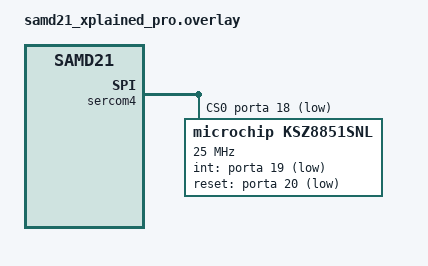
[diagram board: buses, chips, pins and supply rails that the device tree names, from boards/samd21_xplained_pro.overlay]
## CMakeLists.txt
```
#-------------------------------------------------------------------------------
# Zephyr Example Application
#
# Copyright (c) 2021 Nordic Semiconductor ASA
# SPDX-License-Identifier: Apache-2.0

cmake_minimum_required(VERSION 3.13.1)
find_package(Zephyr REQUIRED HINTS $ENV{ZEPHYR_BASE})

project(app LANGUAGES C)

target_sources(app PRIVATE src/main.c)

# The code below locates the git index file for this repository and adds it as a dependency for
# the application VERSION file so that if the repo has a new commit added, even if no files in
# the build have changed, the application version file will be regenerated with the new git commit
find_package(Git QUIET)
if(GIT_FOUND)
  execute_process(
    COMMAND ${GIT_EXECUTABLE} rev-parse --absolute-git-dir
    WORKING_DIRECTORY .
    OUTPUT_VARIABLE application_git_dir
    OUTPUT_STRIP_TRAILING_WHITESPACE
    ERROR_STRIP_TRAILING_WHITESPACE
    ERROR_VARIABLE stderr
    RESULT_VARIABLE return_code
  )
  # If there is an error e.g. it is not a git repo, we just silently ignore it and continue
  # without a dependency, this will be the case with freestanding applications.
  if(NOT return_code)
    if(NOT "${stderr}" STREQUAL "")
      message(WARNING "Application build version git rev-parse warned: ${stderr}")
    endif()

    set_property(TARGET app_version_h PROPERTY APP_VERSION_DEPENDS ${application_git_dir}/index)
  endif()
endif()
```

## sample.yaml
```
# This file is provided so that the application can be compiled using Twister,
# the Zephyr testing tool. In this file, multiple combinations can be specified,
# so that you can easily test all of them locally or in CI.
sample:
  description: Example application
  name: example-application
common:
  build_only: true
  integration_platforms:
    - esp32
build:
  kconfig: Kconfig
  cmake: .
  board: esp32
  harness: net
  settings:
    board_root: boards/
    dts_root: .
  tags:
    - net
    - wifi
tests:
  sample.net.wifi.esp32:
    extra_args:
      - CONFIG_BUILD_ONLY_NO_BLOBS=y
  app.default: {}
  app.debug:
    extra_overlay_confs:
      - debug.conf
```

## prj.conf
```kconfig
# Copyright (c) 2021 Nordic Semiconductor ASA
# SPDX-License-Identifier: Apache-2.0
#
# This file contains selected Kconfig options for the application.

CONFIG_SENSOR=y
CONFIG_BLINK=y

# Networking configuration
CONFIG_NETWORKING=y
CONFIG_NET_L2_ETHERNET=y

# Ethernet driver
CONFIG_ETH_DRIVER=y
CONFIG_ETH_KSZ8851SNL=y

# SPI support
CONFIG_SPI=y

# GPIO support (usually enabled by default)
CONFIG_GPIO=y

# Network protocols
CONFIG_NET_IPV4=y
CONFIG_NET_IPV6=y

# DHCP client
CONFIG_NET_DHCPV4=y

# DNS resolver
CONFIG_NET_DNS_RESOLVER=y

# Network buffers
CONFIG_NET_BUF=y
CONFIG_NET_PKT_RX_COUNT=10
CONFIG_NET_PKT_TX_COUNT=10
CONFIG_NET_BUF_RX_COUNT=20
CONFIG_NET_BUF_TX_COUNT=20

# Network shell (optional - useful for debugging)
CONFIG_NET_SHELL=y
CONFIG_SHELL=y

# Logging configuration
CONFIG_LOG=y
CONFIG_ETHERNET_LOG_LEVEL_DBG=y
CONFIG_NET_LOG=y
```

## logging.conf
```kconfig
# Copyright (c) 2021 Nordic Semiconductor ASA
# SPDX-License-Identifier: Apache-2.0
#
# This is a Kconfig fragment which can be used to enable the logging backend
# in the application. See the README for more details.

# logging
CONFIG_LOG=y
CONFIG_APP_LOG_LEVEL_DBG=y
```

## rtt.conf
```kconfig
# Copyright (c) 2021 Nordic Semiconductor ASA
# SPDX-License-Identifier: Apache-2.0
#
# This is a Kconfig fragment which can be used to enable Segger RTT options.
# It should be used in conjunction with debug.conf.

# segger RTT console
CONFIG_USE_SEGGER_RTT=y
CONFIG_RTT_CONSOLE=y
```

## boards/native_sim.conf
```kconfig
# Copyright (c) 2021 Nordic Semiconductor ASA
# SPDX-License-Identifier: Apache-2.0
#
# This is a Kconfig fragment which can be used to enable debug-related options
# in the application. See the README for more details.
```

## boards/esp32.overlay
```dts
/*
 * Copyright (c) 2023 Espressif Systems (Shanghai) Co., Ltd.
 *
 * SPDX-License-Identifier: Apache-2.0
 */

#include <zephyr/dt-bindings/input/input-event-codes.h>
#include <zephyr/dt-bindings/input/esp32-touch-sensor-input.h>

/* Wifi Settings */
&wifi {
    status = "okay";
};

&touch {
    status = "okay";

    touch_sensor_set: touch_sensor_0 {
        channel-num = <9>;
        channel-sens = <20>;
        zephyr,code = <INPUT_KEY_0>;
    };

    touch_sensor_play: touch_sensor_1 {
        channel-num = <8>;
        channel-sens = <20>;
        zephyr,code = <INPUT_KEY_1>;
    };

    touch_sensor_vol_inc: touch_sensor_2 {
        channel-num = <6>;
        channel-sens = <20>;
        zephyr,code = <INPUT_KEY_2>;
    };

    touch_sensor_vol_dec: touch_sensor_3 {
        channel-num = <4>;
        channel-sens = <20>;
        zephyr,code = <INPUT_KEY_3>;
    };
};

/{
    chosen{
        zephyr,console = &uart0;
    };
};
```

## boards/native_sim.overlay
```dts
/*
 * Copyright (c) 2021 Nordic Semiconductor ASA
 * SPDX-License-Identifier: Apache-2.0
 */

/* This devicetree overlay file will be automatically picked by the Zephyr
 * build system when building the sample for the nucleo_f302r8 board. It shows
 * how the example-application can be built on sample boards already provided
 * by Zephyr.
 */

/ {
	example_sensor: example-sensor {
		compatible = "zephyr,example-sensor";
	};
};
```

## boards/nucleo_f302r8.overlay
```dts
/*
 * Copyright (c) 2021 Nordic Semiconductor ASA
 * SPDX-License-Identifier: Apache-2.0
 */

/* This devicetree overlay file will be automatically picked by the Zephyr
 * build system when building the sample for the nucleo_f302r8 board. It shows
 * how the example-application can be built on sample boards already provided
 * by Zephyr.
 */

/ {
	example_sensor: example-sensor {
		compatible = "zephyr,example-sensor";
		input-gpios = <&gpioc 13 (GPIO_PULL_UP | GPIO_ACTIVE_LOW)>;
	};

	blink_led: blink-led {
		compatible = "blink-gpio-led";
		led-gpios = <&gpiob 13 GPIO_ACTIVE_HIGH>;
		blink-period-ms = <1000>;
	};
};

&gpioc {
	status = "okay";
};
```

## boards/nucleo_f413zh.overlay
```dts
/*
 * Copyright (c) 2021 Nordic Semiconductor ASA
 * SPDX-License-Identifier: Apache-2.0
 */

/* This devicetree overlay file will be automatically picked by the Zephyr
 * build system when building the sample for the nucleo_f413zh board. It shows
 * how the example-application can be built on sample boards already provided
 * by Zephyr.
 */

/ {
	example_sensor: example-sensor {
		compatible = "zephyr,example-sensor";
		input-gpios = <&gpioc 13 (GPIO_ACTIVE_HIGH)>;
	};

	blink_led: blink-led {
		compatible = "blink-gpio-led";
		led-gpios = <&gpiob 0 GPIO_ACTIVE_HIGH>;
		blink-period-ms = <1000>;
	};
};

&gpioc {
	status = "okay";
};

&gpiob {
  status = "okay";
};
```

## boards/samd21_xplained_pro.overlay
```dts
/*
 * Copyright (c) 2024 Zephyr Project
 * SPDX-License-Identifier: Apache-2.0
 *
 * KSZ8851SNL Ethernet Controller overlay for SAMD21
 *
 * NOTE: Adjust the following based on your hardware connections:
 * - SERCOM number (sercom4 below - change if using different SERCOM)
 * - CS pin (PA18 below)
 * - INT pin (PA19 below)
 * - RESET pin (PA20 below)
 * - SPI pins in pinctrl
 */

&pinctrl {
	sercom4_spi_default: sercom4_spi_default {
		group1 {
			pinmux = <PA12C_SERCOM4_PAD0>,  /* MISO */
			         <PB10D_SERCOM4_PAD2>,  /* MOSI */
			         <PB11D_SERCOM4_PAD3>;  /* SCK */
		};
	};
};

&sercom4 {
	status = "okay";
	compatible = "atmel,sam0-spi";
	dipo = <0>;  /* MISO on PAD0 */
	dopo = <1>;  /* MOSI on PAD2, SCK on PAD3 */
	#address-cells = <1>;
	#size-cells = <0>;

	pinctrl-0 = <&sercom4_spi_default>;
	pinctrl-names = "default";

	cs-gpios = <&porta 18 GPIO_ACTIVE_LOW>;

	ksz8851snl: ksz8851snl@0 {
		compatible = "microchip,ksz8851snl";
		reg = <0>;
		spi-max-frequency = <25000000>;  /* 25 MHz max for KSZ8851SNL */
		int-gpios = <&porta 19 GPIO_ACTIVE_LOW>;
		reset-gpios = <&porta 20 GPIO_ACTIVE_LOW>;

		/* Optional: Set a specific MAC address
		 * If not specified, a random MAC will be generated
		 */
		/* local-mac-address = [00 04 A3 12 34 56]; */
	};
};

/* Ensure GPIO ports are enabled */
&porta {
	status = "okay";
};

&portb {
	status = "okay";
};
```

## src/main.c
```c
/*
 * Copyright (c) 2021 Nordic Semiconductor ASA
 * SPDX-License-Identifier: Apache-2.0
 */

#include <zephyr/kernel.h>
#include <zephyr/drivers/sensor.h>
#include <zephyr/logging/log.h>

#include <app/drivers/blink.h>

#include <zephyr/app_version.h>

LOG_MODULE_REGISTER(main, CONFIG_APP_LOG_LEVEL);

#define BLINK_PERIOD_MS_STEP 100U
#define BLINK_PERIOD_MS_MAX  1000U

int main(void)
{
	int ret;
	unsigned int period_ms = BLINK_PERIOD_MS_MAX;
	const struct device *sensor, *blink;
	struct sensor_value last_val = { 0 }, val;

	printk("Zephyr Example Application %s\n", APP_VERSION_STRING);

	sensor = DEVICE_DT_GET(DT_NODELABEL(example_sensor));
	if (!device_is_ready(sensor)) {
		LOG_ERR("Sensor not ready");
		return 0;
	}

	blink = DEVICE_DT_GET(DT_NODELABEL(blink_led));
	if (!device_is_ready(blink)) {
		LOG_ERR("Blink LED not ready");
		return 0;
	}

	ret = blink_off(blink);
	if (ret < 0) {
		LOG_ERR("Could not turn off LED (%d)", ret);
		return 0;
	}

	printk("Use the sensor to change LED blinking period\n");

	while (1) {
		ret = sensor_sample_fetch(sensor);
		if (ret < 0) {
			LOG_ERR("Could not fetch sample (%d)", ret);
			return 0;
		}

		ret = sensor_channel_get(sensor, SENSOR_CHAN_PROX, &val);
		if (ret < 0) {
			LOG_ERR("Could not get sample (%d)", ret);
			return 0;
		}

		if ((last_val.val1 == 0) && (val.val1 == 1)) {
			if (period_ms == 0U) {
				period_ms = BLINK_PERIOD_MS_MAX;
			} else {
				period_ms -= BLINK_PERIOD_MS_STEP;
			}

			printk("Proximity detected, setting LED period to %u ms\n",
			       period_ms);
			blink_set_period_ms(blink, period_ms);
		}

		last_val = val;

		k_sleep(K_MSEC(100));
	}

	return 0;
}
```

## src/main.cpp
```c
/*
 * Copyright (c) 2025 Osama Salah-ud-Din.
*/

#include <zephyr/kernel.h>
#include <zephyr/logging/log.h>

#include <app_version.h>

LOG_MODULE_REGISTER(main, CONFIG_APP_LOG_LEVEL);

#include <zephyr/net/net_if.h>
#include <zephyr/net/net_ip.h>
#include <zephyr/net/wifi_mgmt.h>
#include <zephyr/net/net_event.h>

#include "myLogger.h"
#include "handlers.h"
#include "wifi.h"
#include "wifiManager.hpp"


wifiManager wifi;

int main(void)
{
    /* Main Function */
    MYLOG("Hello World!");

    /* Prechecks for Connecting with Wifi */
    struct wifi_iface_status status = {0};

    wifi.init();

    wifi.tick();
    int64_t start = k_uptime_get();

    bool isConnectRequested = false;
    wifiStateEnum state;

    while (true)
    {
        wifi.tick();
        state = wifi.getWifiState();

        if (wifiStateEnum::IDLE == state)
        {
            /* If 500ms have passed we can connect using Wifi */
            if ((k_uptime_get() - start > 500) && !isConnectRequested)
            {
                MYLOG("Waiting for Wifi to connect");
                wifi.connect();
                isConnectRequested = true;
            }
        }
        else if (wifiStateEnum::CONNECTING == state)
        {
            /* Wait for Connection to be established */
        }
        else if (wifiStateEnum::CONNECTED == state)
        {
            /* Do WiFI Stuff after this */
            isConnectRequested = false;
        }
        else if (wifiStateEnum::ERROR == state)
        {
            if (k_uptime_get() - start > 10000)
            {
                MYLOG("❌ Error in Wifi Initialization. ReInitializing");
                wifi.connect();
            }
        }
    }

    return 0;
}
```

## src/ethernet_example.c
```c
/*
 * Copyright (c) 2024 Zephyr Project
 * SPDX-License-Identifier: Apache-2.0
 *
 * KSZ8851SNL Ethernet Example Application
 */

#include <zephyr/kernel.h>
#include <zephyr/net/net_if.h>
#include <zephyr/net/net_core.h>
#include <zephyr/net/net_context.h>
#include <zephyr/net/net_mgmt.h>
#include <zephyr/net/ethernet.h>
#include <zephyr/logging/log.h>

LOG_MODULE_REGISTER(eth_example, CONFIG_APP_LOG_LEVEL);

static struct net_mgmt_event_callback mgmt_cb;

static void event_handler(struct net_mgmt_event_callback *cb,
			  uint32_t mgmt_event, struct net_if *iface)
{
	if (mgmt_event == NET_EVENT_IPV4_ADDR_ADD) {
		char addr_str[NET_IPV4_ADDR_LEN];
		const struct in_addr *addr;

		addr = &iface->config.ip.ipv4->unicast[0].address.in_addr;

		if (net_addr_ntop(AF_INET, addr, addr_str, sizeof(addr_str))) {
			LOG_INF("IPv4 address: %s", addr_str);
			LOG_INF("Lease time: %u seconds",
				iface->config.dhcpv4.lease_time);
		}
	} else if (mgmt_event == NET_EVENT_IPV4_DHCP_BOUND) {
		LOG_INF("DHCP bound");
	} else if (mgmt_event == NET_EVENT_IPV4_DHCP_START) {
		LOG_INF("DHCP started");
	}
}

void ethernet_example_init(void)
{
	struct net_if *iface;
	struct ethernet_context *eth_ctx;

	LOG_INF("Initializing Ethernet example");

	/* Get default network interface (Ethernet) */
	iface = net_if_get_default();
	if (!iface) {
		LOG_ERR("No network interface found");
		return;
	}

	/* Check if it's an Ethernet interface */
	if (net_if_l2(iface) != &NET_L2_GET_NAME(ETHERNET)) {
		LOG_ERR("Default interface is not Ethernet");
		return;
	}

	LOG_INF("Network interface: %s", net_if_get_device(iface)->name);

	/* Print MAC address */
	const uint8_t *mac = net_if_get_link_addr(iface)->addr;
	LOG_INF("MAC Address: %02x:%02x:%02x:%02x:%02x:%02x",
		mac[0], mac[1], mac[2], mac[3], mac[4], mac[5]);

	/* Setup network management event callback for IP address changes */
	net_mgmt_init_event_callback(&mgmt_cb, event_handler,
				     NET_EVENT_IPV4_ADDR_ADD |
				     NET_EVENT_IPV4_DHCP_BOUND |
				     NET_EVENT_IPV4_DHCP_START);
	net_mgmt_add_event_callback(&mgmt_cb);

	/* Start DHCP */
	LOG_INF("Starting DHCP client...");
	net_dhcpv4_start(iface);

	LOG_INF("Ethernet initialized successfully");
}
```

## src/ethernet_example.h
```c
/*
 * Copyright (c) 2024 Zephyr Project
 * SPDX-License-Identifier: Apache-2.0
 */

#ifndef ETHERNET_EXAMPLE_H
#define ETHERNET_EXAMPLE_H

void ethernet_example_init(void);

#endif /* ETHERNET_EXAMPLE_H */
```

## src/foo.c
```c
/*
 * Copyright (c) 2021 Nordic Semiconductor ASA
 * SPDX-License-Identifier: Apache-2.0
 */

#include "foo.h"

int app_foo_bar(void)
{
	return 0;
}
```

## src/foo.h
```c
/**
 * @file foo.h
 *
 * Foo API.
 *
 * Copyright (c) 2021 Nordic Semiconductor ASA
 * SPDX-License-Identifier: Apache-2.0
 */

#ifndef _FOO_H_
#define _FOO_H_

/**
 * @defgroup app_foo Foo API
 *
 * A detailed description of the foo API.
 *
 * @{
 */

/**
 * @brief An example foo API call.
 *
 * @return 0 on success, negative errno otherwise.
 */
int app_foo_bar(void);

/** @} */

#endif /* _FOO_H_ */
```

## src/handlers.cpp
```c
#include "handlers.h"
#include "myLogger.h"
#include "wifi.h"


static K_SEM_DEFINE(ipv4_address_obtained, 0, 1);

/* Wrappers for Semaphore to be used by Application */
void ipv4_sem_take(void)
{
    k_sem_take(&ipv4_address_obtained, K_FOREVER);
}

void ipv4_sem_give(void)
{
    k_sem_give(&ipv4_address_obtained);
}


void handle_wifi_scan_result(struct net_mgmt_event_callback *cb)
{
    const struct wifi_status *status = (const struct wifi_status *)cb->info;

    if (status->status)
    {
        MYLOG("Scan request failed (%d)\n", status->status);
    }
    else
    {
        MYLOG("Scan Handler: Scan Completed");
        // k_sem_give(&wifi_scan);
    }
}

void handle_wifi_connect_result(struct net_mgmt_event_callback *cb)
{
    const struct wifi_status *status = (const struct wifi_status *)cb->info;

    if (status->status)
    {
        MYLOG("Connection request failed (%d)\n", status->status);
    }
    else
    {
        MYLOG("Connect Handler: Wifi Connected\n");
        // k_sem_give(&wifi_connected);
    }
}

void handle_wifi_disconnect_result(struct net_mgmt_event_callback *cb)
{
    const struct wifi_status *status = (const struct wifi_status *)cb->info;

    if (status->status)
    {
        MYLOG("Disconnection request (%d)", status->status);
    }
    else
    {
        MYLOG("Disconnect Handler: Disconnected");
        // k_sem_take(&wifi_connected, K_NO_WAIT);
    }
}

void handle_ipv4_result(struct net_if *iface)
{
    int i = 0;

    if (NET_EVENT_IPV4_ADDR_DEL)
    MYLOG("IPv4 Handler: IPv4 Address Obtained");;

    for (i = 0; i < NET_IF_MAX_IPV4_ADDR; i++)
    {

        char buf[NET_IPV4_ADDR_LEN];

        if (iface->config.ip.ipv4->unicast[i].ipv4.addr_type != NET_ADDR_DHCP)
        {
            continue;
        }

        MYLOG("IPv4 address: %s",
                net_addr_ntop(AF_INET,
                                &iface->config.ip.ipv4->unicast[i].ipv4.address.in_addr,
                                buf, sizeof(buf)));
        MYLOG("Subnet: %s",
                net_addr_ntop(AF_INET,
                                &iface->config.ip.ipv4->unicast[i].netmask,
                                buf, sizeof(buf)));
        MYLOG("Router: %s",
                net_addr_ntop(AF_INET,
                                &iface->config.ip.ipv4->gw,
                                buf, sizeof(buf)));
        }

        k_sem_give(&ipv4_address_obtained);
}

void ipv4_mgmt_event_handler(struct net_mgmt_event_callback *cb,
                                    uint32_t mgmt_event,
                                    struct net_if *iface)
{
    MYLOG("Event Handler Called : 0x%08X", mgmt_event);
    MYLOG("[Legend] NET_EVENT_IPV4_ADDR_ADD : 0x%08lX", NET_EVENT_IPV4_ADDR_ADD);
    MYLOG("[Legend] NET_EVENT_IPV4_ADDR_DEL : 0x%08lX", NET_EVENT_IPV4_ADDR_DEL);

    if (mgmt_event & NET_EVENT_IPV4_ADDR_ADD)
    {
        MYLOG("✅ IPv4 address added");
        handle_ipv4_result(iface);
    }
    else if (mgmt_event & NET_EVENT_IPV4_ADDR_DEL)
    {
        MYLOG("❌ IPv4 address removed");
    }
    // if (mgmt_event & NET_EVENT_IPV4_GATEWAY_ADD) {
    //     printk("🚪 IPv4 gateway assigned\n");
    // }

    MYLOG("Raw event: 0x%08X\n", mgmt_event);
}

void wifi_mgmt_event_handler(struct net_mgmt_event_callback *cb,
                                    uint32_t mgmt_event,
                                    struct net_if *iface)
{
    MYLOG("Event Handler Called : 0x%08X", mgmt_event);
    MYLOG("[Legend] NET_EVENT_WIFI_CONNECT_RESULT : 0x%08lX", NET_EVENT_WIFI_CONNECT_RESULT);
    MYLOG("[Legend] NET_EVENT_WIFI_SCAN_DONE : 0x%08lX", NET_EVENT_WIFI_SCAN_DONE);
    MYLOG("[Legend] NET_EVENT_WIFI_SCAN_RESULT : 0x%08lX", NET_EVENT_WIFI_SCAN_RESULT);
    MYLOG("[Legend] NET_EVENT_WIFI_DISCONNECT_RESULT : 0x%08lX", NET_EVENT_WIFI_DISCONNECT_RESULT);
    switch (mgmt_event)
    {
        case NET_EVENT_WIFI_CONNECT_RESULT:
            handle_wifi_connect_result(cb);
            break;
        case NET_EVENT_WIFI_SCAN_DONE:
        case NET_EVENT_WIFI_SCAN_RESULT:
            handle_wifi_scan_result(cb);
            break;
        case NET_EVENT_WIFI_DISCONNECT_RESULT:
            handle_wifi_disconnect_result(cb);
            break;
        default:
            break;
    }
}
```

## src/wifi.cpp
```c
#include <zephyr/net/net_if.h>
#include <zephyr/net/wifi_mgmt.h>
#include <zephyr/net/net_event.h>

#include "myLogger.h"
#include "wifi.h"

const std::string CONFIG_WIFI_SSID(WIFI_SSID);
const std::string CONFIG_WIFI_PASSWORD(WIFI_PASSWORD);

// static K_SEM_DEFINE(ipv4_address_obtained, 0, 1);

void wifi_connect(void)
{
    struct net_if *iface = net_if_get_default();

    struct wifi_connect_req_params params =
    {
        .ssid = (const uint8_t*) (CONFIG_WIFI_SSID.c_str()),
        .ssid_length = CONFIG_WIFI_SSID.length(),
        .psk = (const uint8_t*) (CONFIG_WIFI_PASSWORD.c_str()),
        .psk_length = CONFIG_WIFI_PASSWORD.length(),
        .security = WIFI_SECURITY_TYPE_PSK,
    };

    MYLOG("Connecting to the Wifi Network [SSID]: %s", CONFIG_WIFI_SSID.c_str());

    int ret = net_mgmt(NET_REQUEST_WIFI_CONNECT, iface, &params, sizeof(params));
    if (ret)
    {
        MYLOG("Failed to connect to WiFi network! [Error]:%d", ret);
    }
}

wifi_iface_status get_wifi_status(struct net_if* iface)
{
    struct wifi_iface_status status = {0};

    int ret = net_mgmt(NET_REQUEST_WIFI_IFACE_STATUS, iface, &status, sizeof(struct wifi_iface_status));
    if (ret)
    {
        MYLOG("WiFi Status Request Failed");
        return status;
    }

    return status;
}

void wifi_status(void)
{
    struct net_if *iface = net_if_get_default();

    struct wifi_iface_status status = {0};

    status = get_wifi_status(iface);

    MYLOG("Wifi Status: %d\n", status.state);

    if (status.state >= WIFI_STATE_ASSOCIATED)
    {
        MYLOG("[WIFI]SSID: %-32s", status.ssid);
        MYLOG("[WIFI]Band: %s", wifi_band_txt(status.band));
        MYLOG("[WIFI]Channel: %d", status.channel);
        MYLOG("[WIFI]Security: %s", wifi_security_txt(status.security));
        MYLOG("[WIFI]RSSI: %d", status.rssi);
    }
}

void wifi_disconnect(void)
{
    struct net_if *iface = net_if_get_default();

    int ret = net_mgmt(NET_REQUEST_WIFI_DISCONNECT, iface, NULL, 0);
    if (ret)
    {
        MYLOG("WiFi Disconnection Request Failed\n");
    }
}
```
